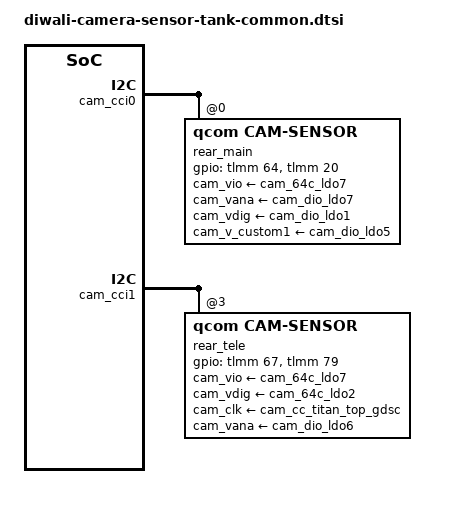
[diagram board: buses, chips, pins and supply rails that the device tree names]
/*
   This base is original from "diwali-camera-sensor-idp.dtsi"
*/

#include <dt-bindings/clock/qcom,camcc-diwali.h>
#include <dt-bindings/msm-camera.h>

&soc {

    qcom,cam-res-mgr {
        compatible = "qcom,cam-res-mgr";
        status = "ok";
    };
};

&cam_cci0 {
    rear_main: qcom,cam-sensor@0 {
        cell-index = <0>;
        compatible = "qcom,cam-sensor";
        csiphy-sd-index = <3>;
        sensor-position-roll = <90>;
        sensor-position-pitch = <0>;
        sensor-position-yaw = <180>;
        cam_vio-supply  = <&cam_64c_ldo7>;
        cam_vana-supply = <&cam_dio_ldo7>;
        cam_vdig-supply = <&cam_dio_ldo1>;
        cam_v_custom1-supply = <&cam_dio_ldo5>;
        cam_clk-supply  = <&cam_cc_titan_top_gdsc>;
        regulator-names = "cam_vio", "cam_vana", "cam_vdig", "cam_v_custom1", "cam_clk" ;
        rgltr-cntrl-support;
        rgltr-min-voltage  = <1800000 1804000 1104000 2804000 0>;
        rgltr-max-voltage  = <1800000 1804000 1104000 2804000 0>;
        rgltr-load-current = <155000 155000 680000 119000 0>;
        gpio-no-mux = <0>;
        pinctrl-names = "cam_default", "cam_suspend";
        pinctrl-0 = <&cam_sensor_mclk0_active	&cam_sensor_active_rst0>;
        pinctrl-1 = <&cam_sensor_mclk0_suspend	&cam_sensor_suspend_rst0>;
        gpios = <&tlmm 64 0>, <&tlmm 20 0>;
        gpio-reset = <1>;
        gpio-req-tbl-num   = <0 1>;
        gpio-req-tbl-flags = <1 0>;
        gpio-req-tbl-label = "CAMIF_MCLK0", "CAM_RESET0";
        cci-master = <CCI_MASTER_0>;
        clocks = <&camcc CAM_CC_MCLK0_CLK>;
        clock-names = "cam_clk";
        clock-cntl-level = "nominal";
        clock-rates = <24000000>;
        status = "ok";
    };
};

&cam_cci1 {
    rear_tele: qcom,cam-sensor@3 {
        cell-index = <3>;
        compatible = "qcom,cam-sensor";
        csiphy-sd-index = <1>;
        sensor-position-roll = <90>;
        sensor-position-pitch = <0>;
        sensor-position-yaw = <180>;
        cam_vio-supply = <&cam_64c_ldo7>;
        cam_vdig-supply = <&cam_64c_ldo2>;
        cam_clk-supply = <&cam_cc_titan_top_gdsc>;
        cam_vana-supply = <&cam_dio_ldo6>;
        regulator-names = "cam_vio", "cam_vdig",
            "cam_clk", "cam_vana";
        rgltr-cntrl-support;
        rgltr-min-voltage = <1800000 1050000 0 2804000>;
        rgltr-max-voltage = <1800000 1050000 0 2804000>;
        rgltr-load-current = <155000 680000 0 50000>;
        gpio-no-mux = <0>;
        pinctrl-names = "cam_default", "cam_suspend";
        pinctrl-0 = <&cam_sensor_mclk3_active
            &cam_sensor_active_rst3>;
        pinctrl-1 = <&cam_sensor_mclk3_suspend
            &cam_sensor_suspend_rst3>;
        gpios = <&tlmm 67 0>,
            <&tlmm 79 0>;
        gpio-reset = <1>;
        gpio-req-tbl-num = <0 1>;
        gpio-req-tbl-flags = <1 0>;
        gpio-req-tbl-label = "CAMIF_MCLK3",
                    "CAM_RESET3";
        cci-master = <CCI_MASTER_1>;
        clocks = <&camcc CAM_CC_MCLK3_CLK>;
        clock-names = "cam_clk";
        clock-cntl-level = "nominal";
        clock-rates = <24000000>;
        status = "ok";
    };
};
